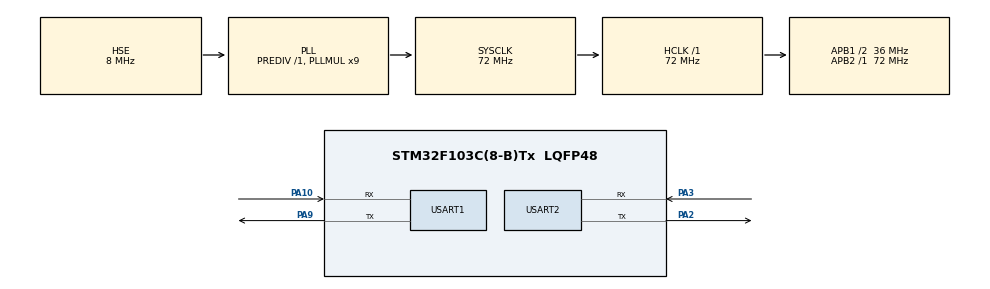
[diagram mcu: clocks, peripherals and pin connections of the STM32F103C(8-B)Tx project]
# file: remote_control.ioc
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IWDG.Prescaler=IWDG_PRESCALER_32
Mcu.Family=STM32F1
Mcu.Name=STM32F103C(8-B)Tx
Mcu.Package=LQFP48
NVIC.PriorityGroup=NVIC_PRIORITYGROUP_4
NVIC.RTC_IRQn=true\:0\:0\:true\:false\:true\:true\:true\:true
NVIC.TIM2_IRQn=true\:1\:0\:true\:false\:true\:true\:true\:true
NVIC.USART1_IRQn=true\:1\:0\:true\:false\:true\:true\:true\:true
NVIC.USART2_IRQn=true\:1\:0\:true\:false\:true\:true\:true\:true
PA10.Mode=Asynchronous
PA10.Signal=USART1_RX
PA13.Mode=Serial_Wire
PA13.Signal=SYS_JTMS-SWDIO
PA14.Mode=Serial_Wire
PA14.Signal=SYS_JTCK-SWCLK
PA2.Mode=Asynchronous
PA2.Signal=USART2_TX
PA3.Mode=Asynchronous
PA3.Signal=USART2_RX
PA9.Mode=Asynchronous
PA9.Signal=USART1_TX
PD0-OSC_IN.Mode=HSE-External-Oscillator
PD0-OSC_IN.Signal=RCC_OSC_IN
PD1-OSC_OUT.Mode=HSE-External-Oscillator
PD1-OSC_OUT.Signal=RCC_OSC_OUT
ProjectManager.HeapSize=0x200
ProjectManager.StackSize=0x400
ProjectManager.TargetToolchain=MDK-ARM V5.32
RCC.AHBFreq_Value=72000000
RCC.APB1CLKDivider=RCC_HCLK_DIV2
RCC.APB1Freq_Value=36000000
RCC.APB1TimFreq_Value=72000000
RCC.APB2Freq_Value=72000000
RCC.APB2TimFreq_Value=72000000
RCC.HCLKFreq_Value=72000000
RCC.PLLMUL=RCC_PLL_MUL9
RCC.PLLSourceVirtual=RCC_PLLSOURCE_HSE
RCC.SYSCLKFreq_VALUE=72000000
RCC.SYSCLKSource=RCC_SYSCLKSOURCE_PLLCLK
RCC.USBFreq_Value=72000000
RTC.Date=30
RTC.Hours=0
RTC.Minutes=0
RTC.Month=RTC_MONTH_JUNE
RTC.Seconds=50
RTC.WeekDay=RTC_WEEKDAY_FRIDAY
RTC.Year=23
TIM2.Period=49999
TIM2.Prescaler=71
USART1.VirtualMode=VM_ASYNC
USART2.VirtualMode=VM_ASYNC
VP_IWDG_VS_IWDG.Mode=IWDG_Activate
VP_RTC_No_RTC_Output.Mode=RTC_OUT_NO
VP_RTC_VS_RTC_Activate.Mode=RTC_Enabled
VP_RTC_VS_RTC_Calendar.Mode=RTC_Calendar
VP_TIM2_VS_ClockSourceINT.Mode=Internal
board=custom

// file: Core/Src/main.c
/* USER CODE BEGIN Header */
/**
  ******************************************************************************
  * @file           : main.c
  * @brief          : Main program body
  ******************************************************************************
  * @attention
  *
  * Copyright (c) 2023 STMicroelectronics.
  * All rights reserved.
  *
  * This software is licensed under terms that can be found in the LICENSE file
  * in the root directory of this software component.
  * If no LICENSE file comes with this software, it is provided AS-IS.
  *
  ******************************************************************************
  */
/* USER CODE END Header */
#include "main.h"
#include "iwdg.h"
#include "rtc.h"
#include "tim.h"
#include "usart.h"
#include "gpio.h"

/* USER CODE BEGIN Includes */
#include <protocol.h>
#include "string.h"
#include "stdio.h"
/* USER CODE END Includes */

/* USER CODE BEGIN PV */
// 红外模块的模式，学码 - 0  发码 - 1
int codeFlag = 1;
// 空调开机运行时间，单位 s
int runningTime = 600;
// 空调从停机到下次开机的时间，单位 s
int waitTime = 3600;
// 空调每天周期性运行时长，24小时制，时分表示。 08:30表示运行8小时30分钟。
// 单片机开机后10s，空调开始周期性的开机和停机，每个周期时间为 runningTime + waitTime，
// 直到 interval 后，停止周期性运行；24小时后再开始周期性运行。如果单片机不关机，以上可实现每天晚上自动控制空调运行。
char interval[6] = "08:30";

//内部发码(第1组)，空调开机码
uint8_t SendCode1[] = "68 08 00 FF 12 00 11 16";
//内部发码(第2组)，空调关机码
uint8_t SendCode2[] = "68 08 00 FF 12 01 12 16";
//内部发码(第3组)
//uint8_t SendCode3[] = "68 08 00 FF 12 02 13 16";
//内部发码(第4组)
//uint8_t SendCode4[] = "68 08 00 FF 12 03 14 16";
//内部发码(第5组)
//uint8_t SendCode5[] = "68 08 00 FF 12 04 15 16";
//,内部发码(第6组)
//uint8_t SendCode6[] = "68 08 00 FF 12 05 16 16";
//内部发码(第7组)
//uint8_t SendCode7[] = "68 08 00 FF 12 06 17 16";

// -------下面的不要修改 ----------
// 串口接收缓存
uint8_t uart1_RxBuff[255];
uint8_t uart2_RxBuff[255];
RTC_TimeTypeDef currentTime = {0};
// 开机运行 - 1; 停机等待 - 0
int runFlag = 1;
// 定时器中断后的计时时间，单位 s
int systemRunningTime = 0;
int counter = 0;
char t_buff[6];
// 空调每天周期性开始运行时间，24小时制，时分
char startTime[6] = "00:01";
int isInterval = 0;
/* USER CODE END PV */

void SystemClock_Config(void);

int main(void)
{

  /* MCU Configuration--------------------------------------------------------*/

  /* Reset of all peripherals, Initializes the Flash interface and the Systick. */
  HAL_Init();

  /* USER CODE BEGIN Init */
	void IR_Send_Code(uint8_t *sendCode);
  /* USER CODE END Init */

  /* Configure the system clock */
  SystemClock_Config();

  /* Initialize all configured peripherals */
  MX_GPIO_Init();
  MX_USART1_UART_Init();
  MX_USART2_UART_Init();
  MX_TIM2_Init();
  MX_RTC_Init();
  MX_IWDG_Init();
  /* USER CODE BEGIN 2 */
	//HAL_UART_Receive_IT(&huart1, uart1_RxBuff, 255);
	//HAL_UART_Receive_IT(&huart2, uart2_RxBuff, 255);
	if(codeFlag == 1)
	{
		HAL_TIM_Base_Start_IT(&htim2);
	}
  /* USER CODE END 2 */

  /* Infinite loop */
  while (1)
  {

  }
}

void SystemClock_Config(void)
{
  RCC_OscInitTypeDef RCC_OscInitStruct = {0};
  RCC_ClkInitTypeDef RCC_ClkInitStruct = {0};
  RCC_PeriphCLKInitTypeDef PeriphClkInit = {0};

  /** Initializes the RCC Oscillators according to the specified parameters
  * in the RCC_OscInitTypeDef structure.
  */
  RCC_OscInitStruct.OscillatorType = RCC_OSCILLATORTYPE_LSI|RCC_OSCILLATORTYPE_HSE;
  RCC_OscInitStruct.HSEState = RCC_HSE_ON;
  RCC_OscInitStruct.HSEPredivValue = RCC_HSE_PREDIV_DIV1;
  RCC_OscInitStruct.HSIState = RCC_HSI_ON;
  RCC_OscInitStruct.LSIState = RCC_LSI_ON;
  RCC_OscInitStruct.PLL.PLLState = RCC_PLL_ON;
  RCC_OscInitStruct.PLL.PLLSource = RCC_PLLSOURCE_HSE;
  RCC_OscInitStruct.PLL.PLLMUL = RCC_PLL_MUL9;
  if (HAL_RCC_OscConfig(&RCC_OscInitStruct) != HAL_OK)
  {
    Error_Handler();
  }

  /** Initializes the CPU, AHB and APB buses clocks
  */
  RCC_ClkInitStruct.ClockType = RCC_CLOCKTYPE_HCLK|RCC_CLOCKTYPE_SYSCLK
                              |RCC_CLOCKTYPE_PCLK1|RCC_CLOCKTYPE_PCLK2;
  RCC_ClkInitStruct.SYSCLKSource = RCC_SYSCLKSOURCE_PLLCLK;
  RCC_ClkInitStruct.AHBCLKDivider = RCC_SYSCLK_DIV1;
  RCC_ClkInitStruct.APB1CLKDivider = RCC_HCLK_DIV2;
  RCC_ClkInitStruct.APB2CLKDivider = RCC_HCLK_DIV1;

  if (HAL_RCC_ClockConfig(&RCC_ClkInitStruct, FLASH_LATENCY_2) != HAL_OK)
  {
    Error_Handler();
  }
  PeriphClkInit.PeriphClockSelection = RCC_PERIPHCLK_RTC;
  PeriphClkInit.RTCClockSelection = RCC_RTCCLKSOURCE_LSI;
  if (HAL_RCCEx_PeriphCLKConfig(&PeriphClkInit) != HAL_OK)
  {
    Error_Handler();
  }
}

/* USER CODE BEGIN 4 */
// 定时器中断回调函数
void HAL_TIM_PeriodElapsedCallback(TIM_HandleTypeDef *htim)
{
	counter ++;
	if(counter == 20)	// 时钟频率为20Hz，即1秒计数20次，每次0.05秒
	{
		counter = 0;
		systemRunningTime ++;
		HAL_IWDG_Refresh(&hiwdg);	// 喂狗
		HAL_RTC_GetTime(&hrtc, &currentTime, RTC_FORMAT_BIN);	// 获取日期
		sprintf(t_buff, "%02d:%02d", currentTime.Hours, currentTime.Minutes);
		if(isInterval == 1 && runFlag == 1 && systemRunningTime >= runningTime)
		{
			systemRunningTime = 0;
			runFlag = 0;
			uint16_t codeLen = IR_Send_Pack(SendCode2, 1);
			HAL_UART_Transmit_IT(&huart1, SendCode2, codeLen);
		}
		if(isInterval == 1 && runFlag == 0 && systemRunningTime >= waitTime)
		{
			systemRunningTime = 0;
			runFlag = 1;
			uint16_t codeLen = IR_Send_Pack(SendCode1, 0);
			HAL_UART_Transmit_IT(&huart1, SendCode1, codeLen);
		}
		if(isInterval == 1 && strcmp(t_buff, interval) == 0)	// 停止周期运行
		{
			isInterval = 0;
			systemRunningTime = 0;
			runFlag = 0;
			uint16_t codeLen = IR_Send_Pack(SendCode2, 1);
			HAL_UART_Transmit_IT(&huart1, SendCode2, codeLen);
		}
		if(isInterval == 0 && strcmp(t_buff, startTime) == 0)		// 开始周期运行
		{
			isInterval = 1;
			runFlag = 1;
			systemRunningTime = 0;
			if(codeFlag == 1)
			{
				uint16_t codeLen = IR_Send_Pack(SendCode1, 0);
				HAL_UART_Transmit_IT(&huart1, SendCode1, codeLen);
			}
		}
		if(isInterval == 0 && systemRunningTime > 7200)
		{
			systemRunningTime = 0;	// 防止溢出
		}
	}
}
/* USER CODE END 4 */

void Error_Handler(void)
{
  __disable_irq();
  while (1)
  {
  }
}
